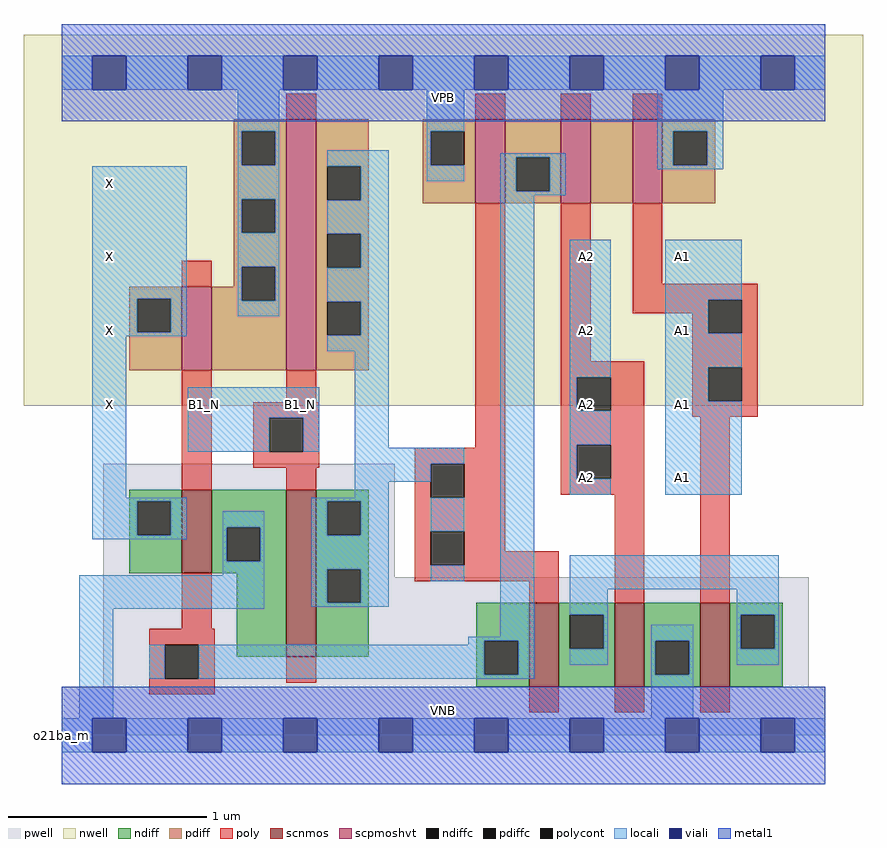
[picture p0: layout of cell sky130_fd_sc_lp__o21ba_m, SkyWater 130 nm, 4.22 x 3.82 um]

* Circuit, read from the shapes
.subckt sky130_fd_sc_lp__o21ba_m A1 A2 B1_N VGND VNB VPB VPWR X
XM1 VGND n1 X VNB sky130_fd_pr__nfet_01v8 w=0.42 l=0.15
XM2 n2 B1_N VGND VNB sky130_fd_pr__nfet_01v8 w=0.84 l=0.15
XM3 n3 n2 n1 VNB sky130_fd_pr__nfet_01v8 w=0.42 l=0.15
XM4 VGND A2 n3 VNB sky130_fd_pr__nfet_01v8 w=0.42 l=0.15
XM5 n3 A1 VGND VNB sky130_fd_pr__nfet_01v8 w=0.42 l=0.15
XM6 VPWR n1 X VPB sky130_fd_pr__pfet_01v8_hvt w=0.42 l=0.15
XM7 n2 B1_N VPWR VPB sky130_fd_pr__pfet_01v8_hvt w=1.26 l=0.15
XM8 n1 n2 VPWR VPB sky130_fd_pr__pfet_01v8_hvt w=0.42 l=0.15
XM9 n4 A2 n1 VPB sky130_fd_pr__pfet_01v8_hvt w=0.42 l=0.15
XM10 VPWR A1 n4 VPB sky130_fd_pr__pfet_01v8_hvt w=0.42 l=0.15
.ends

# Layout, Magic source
magic
tech sky130A
magscale 1 2
<< nwell >>
rect -38 331 806 704
<< pwell >>
rect 42 159 335 273
rect 42 49 751 159
rect 0 0 768 49
<< scnmos >>
rect 121 163 151 247
rect 226 79 256 247
rect 470 49 500 133
rect 556 49 586 133
rect 642 49 672 133
<< scpmoshvt >>
rect 121 367 151 451
rect 226 367 256 619
rect 416 535 446 619
rect 502 535 532 619
rect 574 535 604 619
<< ndiff >>
rect 68 235 121 247
rect 68 201 76 235
rect 110 201 121 235
rect 68 163 121 201
rect 151 209 226 247
rect 151 175 166 209
rect 200 175 226 209
rect 151 163 226 175
rect 176 79 226 163
rect 256 235 309 247
rect 256 201 267 235
rect 301 201 309 235
rect 256 167 309 201
rect 256 133 267 167
rect 301 133 309 167
rect 256 79 309 133
rect 417 95 470 133
rect 417 61 425 95
rect 459 61 470 95
rect 417 49 470 61
rect 500 121 556 133
rect 500 87 511 121
rect 545 87 556 121
rect 500 49 556 87
rect 586 95 642 133
rect 586 61 597 95
rect 631 61 642 95
rect 586 49 642 61
rect 672 121 725 133
rect 672 87 683 121
rect 717 87 725 121
rect 672 49 725 87
<< pdiff >>
rect 173 607 226 619
rect 173 573 181 607
rect 215 573 226 607
rect 173 539 226 573
rect 173 505 181 539
rect 215 505 226 539
rect 173 471 226 505
rect 173 451 181 471
rect 68 439 121 451
rect 68 405 76 439
rect 110 405 121 439
rect 68 367 121 405
rect 151 437 181 451
rect 215 437 226 471
rect 151 367 226 437
rect 256 572 309 619
rect 256 538 267 572
rect 301 538 309 572
rect 256 504 309 538
rect 363 607 416 619
rect 363 573 371 607
rect 405 573 416 607
rect 363 535 416 573
rect 446 581 502 619
rect 446 547 457 581
rect 491 547 502 581
rect 446 535 502 547
rect 532 535 574 619
rect 604 607 657 619
rect 604 573 615 607
rect 649 573 657 607
rect 604 535 657 573
rect 256 470 267 504
rect 301 470 309 504
rect 256 436 309 470
rect 256 402 267 436
rect 301 402 309 436
rect 256 367 309 402
<< ndiffc >>
rect 76 201 110 235
rect 166 175 200 209
rect 267 201 301 235
rect 267 133 301 167
rect 425 61 459 95
rect 511 87 545 121
rect 597 61 631 95
rect 683 87 717 121
<< pdiffc >>
rect 181 573 215 607
rect 181 505 215 539
rect 76 405 110 439
rect 181 437 215 471
rect 267 538 301 572
rect 371 573 405 607
rect 457 547 491 581
rect 615 573 649 607
rect 267 470 301 504
rect 267 402 301 436
<< poly >>
rect 226 619 256 645
rect 416 619 446 645
rect 502 619 532 645
rect 574 619 604 645
rect 121 451 151 477
rect 121 247 151 367
rect 226 335 256 367
rect 193 319 259 335
rect 193 285 209 319
rect 243 285 259 319
rect 416 289 446 535
rect 193 269 259 285
rect 355 273 446 289
rect 226 247 256 269
rect 121 107 151 163
rect 88 91 154 107
rect 88 57 104 91
rect 138 57 154 91
rect 355 239 371 273
rect 405 239 446 273
rect 502 376 532 535
rect 574 454 604 535
rect 574 438 700 454
rect 574 424 650 438
rect 634 404 650 424
rect 684 404 700 438
rect 502 360 586 376
rect 502 326 518 360
rect 552 326 586 360
rect 502 292 586 326
rect 634 370 700 404
rect 634 336 650 370
rect 684 336 700 370
rect 634 320 700 336
rect 502 258 518 292
rect 552 258 586 292
rect 502 242 586 258
rect 355 205 446 239
rect 355 171 371 205
rect 405 185 446 205
rect 405 171 500 185
rect 355 155 500 171
rect 470 133 500 155
rect 556 133 586 242
rect 642 133 672 320
rect 88 41 154 57
rect 226 53 256 79
rect 470 23 500 49
rect 556 23 586 49
rect 642 23 672 49
<< polycont >>
rect 209 285 243 319
rect 104 57 138 91
rect 371 239 405 273
rect 650 404 684 438
rect 518 326 552 360
rect 650 336 684 370
rect 518 258 552 292
rect 371 171 405 205
<< locali >>
rect 0 649 31 683
rect 65 649 127 683
rect 161 649 223 683
rect 257 649 319 683
rect 353 649 415 683
rect 449 649 511 683
rect 545 649 607 683
rect 641 649 703 683
rect 737 649 768 683
rect 177 607 219 649
rect 177 573 181 607
rect 215 573 219 607
rect 367 607 405 649
rect 31 439 126 572
rect 31 405 76 439
rect 110 405 126 439
rect 177 539 219 573
rect 177 505 181 539
rect 215 505 219 539
rect 177 471 219 505
rect 177 437 181 471
rect 215 437 219 471
rect 177 421 219 437
rect 267 572 329 588
rect 301 538 329 572
rect 367 573 371 607
rect 599 607 665 649
rect 367 557 405 573
rect 441 581 507 585
rect 267 504 329 538
rect 301 470 329 504
rect 267 436 329 470
rect 31 401 126 405
rect 301 402 329 436
rect 31 239 65 401
rect 267 386 329 402
rect 127 319 259 350
rect 127 285 209 319
rect 243 285 259 319
rect 295 289 329 386
rect 441 547 457 581
rect 491 547 507 581
rect 599 573 615 607
rect 649 573 665 607
rect 599 569 665 573
rect 441 543 507 547
rect 295 273 405 289
rect 295 255 371 273
rect 295 239 329 255
rect 31 235 126 239
rect 31 201 76 235
rect 110 201 126 235
rect 251 235 329 239
rect 31 197 126 201
rect 162 209 204 225
rect 162 175 166 209
rect 200 175 204 209
rect 162 161 204 175
rect 18 127 204 161
rect 251 201 267 235
rect 301 201 329 235
rect 251 167 329 201
rect 251 133 267 167
rect 301 133 329 167
rect 371 205 405 239
rect 371 155 405 171
rect 251 129 329 133
rect 18 17 52 127
rect 441 99 475 543
rect 511 360 552 498
rect 511 326 518 360
rect 511 292 552 326
rect 511 258 518 292
rect 511 242 552 258
rect 607 438 684 498
rect 607 404 650 438
rect 607 370 684 404
rect 607 336 650 370
rect 607 242 684 336
rect 409 95 475 99
rect 409 91 425 95
rect 88 57 104 91
rect 138 61 425 91
rect 459 61 475 95
rect 511 147 721 181
rect 511 121 549 147
rect 545 87 549 121
rect 679 121 721 147
rect 511 71 549 87
rect 593 95 635 111
rect 138 57 475 61
rect 593 61 597 95
rect 631 61 635 95
rect 679 87 683 121
rect 717 87 721 121
rect 679 71 721 87
rect 593 17 635 61
rect 0 -17 31 17
rect 65 -17 127 17
rect 161 -17 223 17
rect 257 -17 319 17
rect 353 -17 415 17
rect 449 -17 511 17
rect 545 -17 607 17
rect 641 -17 703 17
rect 737 -17 768 17
<< viali >>
rect 31 649 65 683
rect 127 649 161 683
rect 223 649 257 683
rect 319 649 353 683
rect 415 649 449 683
rect 511 649 545 683
rect 607 649 641 683
rect 703 649 737 683
rect 31 -17 65 17
rect 127 -17 161 17
rect 223 -17 257 17
rect 319 -17 353 17
rect 415 -17 449 17
rect 511 -17 545 17
rect 607 -17 641 17
rect 703 -17 737 17
<< metal1 >>
rect 0 683 768 715
rect 0 649 31 683
rect 65 649 127 683
rect 161 649 223 683
rect 257 649 319 683
rect 353 649 415 683
rect 449 649 511 683
rect 545 649 607 683
rect 641 649 703 683
rect 737 649 768 683
rect 0 617 768 649
rect 0 17 768 49
rect 0 -17 31 17
rect 65 -17 127 17
rect 161 -17 223 17
rect 257 -17 319 17
rect 353 -17 415 17
rect 449 -17 511 17
rect 545 -17 607 17
rect 641 -17 703 17
rect 737 -17 768 17
rect 0 -49 768 -17
<< labels >>
flabel pwell s 0 0 768 49 0 FreeSans 200 0 0 0 VNB
port 5 nsew ground bidirectional
flabel nwell s 0 617 768 666 0 FreeSans 200 0 0 0 VPB
port 6 nsew power bidirectional
rlabel comment s 0 0 0 0 4 o21ba_m
flabel metal1 s 0 617 768 666 0 FreeSans 340 0 0 0 VPWR
port 7 nsew power bidirectional
flabel metal1 s 0 0 768 49 0 FreeSans 340 0 0 0 VGND
port 4 nsew ground bidirectional
flabel locali s 511 242 545 276 0 FreeSans 340 0 0 0 A2
port 2 nsew signal input
flabel locali s 511 316 545 350 0 FreeSans 340 0 0 0 A2
port 2 nsew signal input
flabel locali s 511 390 545 424 0 FreeSans 340 0 0 0 A2
port 2 nsew signal input
flabel locali s 511 464 545 498 0 FreeSans 340 0 0 0 A2
port 2 nsew signal input
flabel locali s 127 316 161 350 0 FreeSans 340 0 0 0 B1_N
port 3 nsew signal input
flabel locali s 223 316 257 350 0 FreeSans 340 0 0 0 B1_N
port 3 nsew signal input
flabel locali s 607 242 641 276 0 FreeSans 340 0 0 0 A1
port 1 nsew signal input
flabel locali s 607 316 641 350 0 FreeSans 340 0 0 0 A1
port 1 nsew signal input
flabel locali s 607 390 641 424 0 FreeSans 340 0 0 0 A1
port 1 nsew signal input
flabel locali s 607 464 641 498 0 FreeSans 340 0 0 0 A1
port 1 nsew signal input
flabel locali s 31 316 65 350 0 FreeSans 340 0 0 0 X
port 8 nsew signal output
flabel locali s 31 390 65 424 0 FreeSans 340 0 0 0 X
port 8 nsew signal output
flabel locali s 31 464 65 498 0 FreeSans 340 0 0 0 X
port 8 nsew signal output
flabel locali s 31 538 65 572 0 FreeSans 340 0 0 0 X
port 8 nsew signal output
<< properties >>
string LEFsite unit
string LEFclass CORE
string FIXED_BBOX 0 0 768 666
string GDS_FILE $PDKPATH/libs.ref/sky130_fd_sc_lp/gds/sky130_fd_sc_lp.gds
string LEFsymmetry X Y R90
string GDS_END 6541970
string GDS_START 6534252
<< end >>
